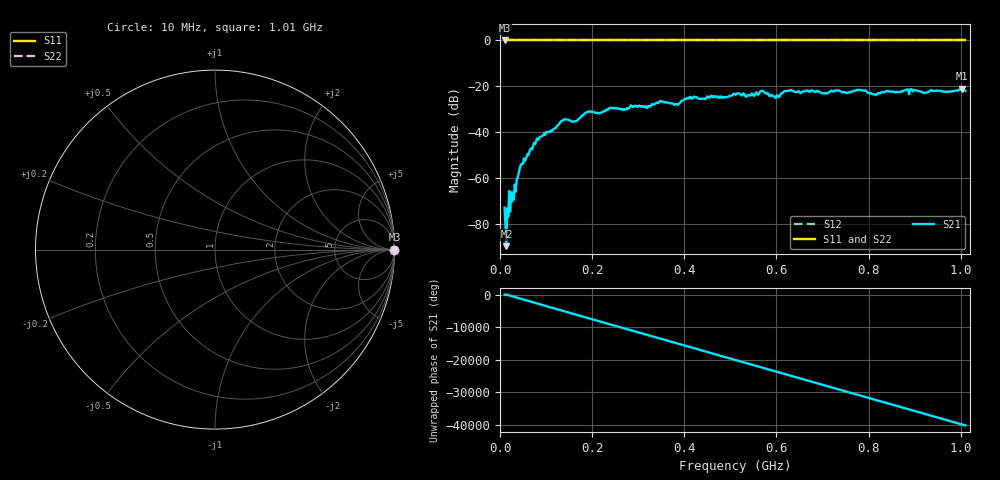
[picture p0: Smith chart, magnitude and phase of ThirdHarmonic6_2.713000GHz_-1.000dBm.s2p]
! 8/17/2025 6:34:13 AM
! C:\ANRITSUVNA\TEMP\TEMP.S2P
! CHANNEL.1
! TR.MEASUREMENT
! RAW.DATA
! RF.CORRECTION.OFF
! AVERAGING.OFF
! IF.BANDWIDTH: 5KHZ
! SWEEPTYPE:  FREQ.SWEEP(Linear)
! Reference Plane Port Info
! PORT:  PORT1  PORT2
! DISTANCE:  0  m  0  m
! TIME:  0  s  0  s
! PHASE.OFFSET:  0  deg.  0  deg.
! LOSS:  0  dB  0  dB
! REF.LOSS:  0  dB  0  dB
! REF.FREQ:  0  Hz  0  Hz
! Power Info
! POWER:  -20  dBm  -20  dBm
! EFF.POWER:  -20  dBm  -20  dBm
! SOURCE.ATTEN:  0  dB  0  dB
! TEST.ATTEN:  0  dB  0  dB
# GHZ S RI R 50.0
! FREQ.GHZ  S11RE  S11IM  S21RE  S21IM  S12RE  S12IM  S22RE  S22IM
!; PortSelection: Port_12
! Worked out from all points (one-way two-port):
!   501 points, 10 MHz to 1.01 GHz, reference 50 ohm
!   highest |S21| = -21.11 dB at 1.002 GHz (marker M1); lowest = -89.9 dB at 14 MHz (marker M2)
!   lowest |S11| = 0.0 dB at 10 MHz (marker M3)
!   |S11| at or under -10 dB: nowhere
!   |S22| runs from 0.0 to 0.0 dB; largest |S21 - S12| = 1.1
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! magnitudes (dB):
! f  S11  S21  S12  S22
! 10 MHz  0.0  -73.1  0.0  0.0
! 14 MHz  0.0  -89.9  0.0  0.0
! 24 MHz  0.0  -66.4  0.0  0.0
! 30 MHz  0.0  -69.5  0.0  0.0
! 44 MHz  0.0  -54.9  0.0  0.0
! 78 MHz  0.0  -44.5  0.0  0.0
! 136 MHz  0.0  -35.1  0.0  0.0
! 162 MHz  0.0  -35.3  0.0  0.0
! 178 MHz  0.0  -32.8  0.0  0.0
! 344 MHz  0.0  -27.3  0.0  0.0
! 382 MHz  0.0  -27.8  0.0  0.0
! 410 MHz  0.0  -25.3  0.0  0.0
! 510 MHz  0.0  -23.6  0.0  0.0
! 568 MHz  0.0  -22.0  0.0  0.0
! 602 MHz  0.0  -24.0  0.0  0.0
! 620 MHz  0.0  -22.1  0.0  0.0
! 678 MHz  0.0  -22.0  0.0  0.0
! 780 MHz  0.0  -21.6  0.0  0.0
! 814 MHz  0.0  -23.6  0.0  0.0
! 844 MHz  0.0  -22.2  0.0  0.0
! 1.002 GHz  0.0  -21.1  0.0  0.0
! 1.01 GHz  0.0  -22.0  0.0  0.0
